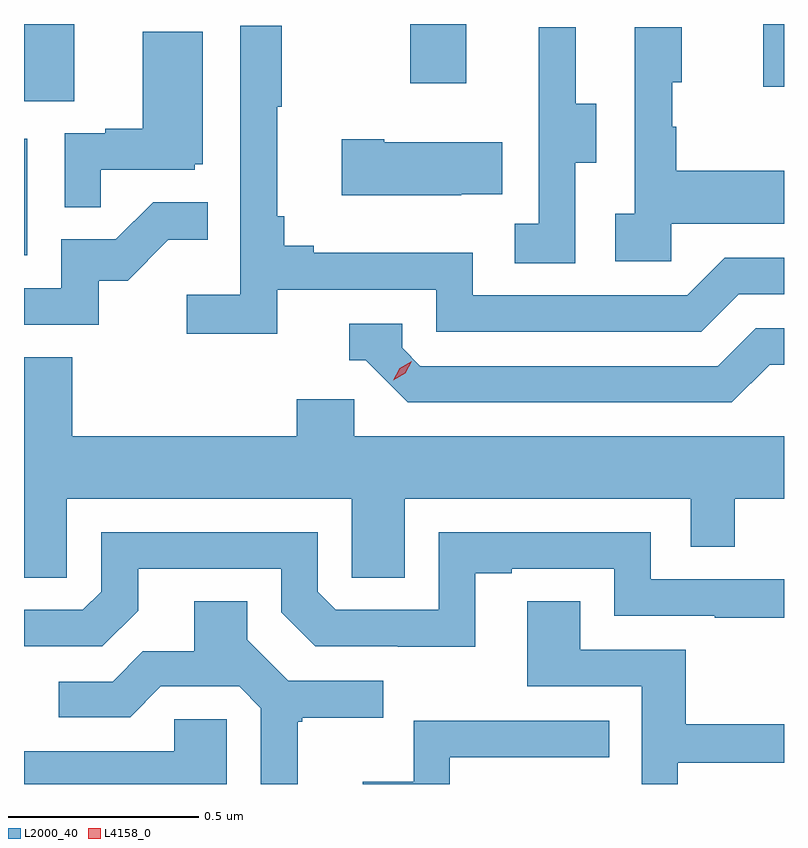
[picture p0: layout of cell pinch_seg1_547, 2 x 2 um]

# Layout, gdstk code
import gdstk
lib = gdstk.Library(unit=1e-6, precision=1e-09)
def R(c, l, rs):  # rectangles x0, y0, x1, y1
    for r in rs: c.add(gdstk.rectangle(r[:2], r[2:], *l))
def P(c, l, *ps):  # polygons
    for p in ps: c.add(gdstk.Polygon(p, *l))
L2000_40 = (2000, 40)
L4158_0 = (4158, 0)

pinch_seg1_547 = lib.new_cell('pinch_seg1_547')
R(pinch_seg1_547, L2000_40, [(1046.149,531.06,1046.158,531.367), (1046.149,531.466,1046.281,531.669), (1048.094,531.504,1048.149,531.669), (1047.166,531.513,1047.313,531.669)])
P(pinch_seg1_547, L2000_40, [(1046.816,530.97),(1047.234,530.97),(1047.234,530.859),(1047.931,530.859),(1048.03,530.958),(1048.149,530.958),(1048.149,531.054),(1047.993,531.054),(1047.894,530.955),(1047.33,530.955),(1047.33,531.067),(1046.911,531.067),(1046.911,531.086),(1046.834,531.086),(1046.834,531.163),(1046.815,531.163),(1046.815,531.451),(1046.827,531.451),(1046.827,531.664),(1046.718,531.664),(1046.718,530.956),(1046.577,530.956),(1046.577,530.854),(1046.816,530.854)],
  [(1047.6,531.304),(1047.655,531.304),(1047.655,531.459),(1047.601,531.459),(1047.601,531.661),(1047.503,531.661),(1047.503,531.447),(1047.504,531.447),(1047.504,531.143),(1047.441,531.143),(1047.441,531.04),(1047.6,531.04)],
  [(1047.852,531.143),(1048.149,531.143),(1048.149,531.283),(1047.865,531.283),(1047.865,531.398),(1047.855,531.398),(1047.855,531.516),(1047.88,531.516),(1047.88,531.661),(1047.756,531.661),(1047.756,531.17),(1047.705,531.17),(1047.705,531.045),(1047.852,531.045)],
  [(1046.351,531.285),(1046.598,531.285),(1046.598,531.3),(1046.62,531.3),(1046.62,531.649),(1046.462,531.649),(1046.462,531.394),(1046.363,531.394),(1046.363,531.381),(1046.256,531.381),(1046.256,531.187),(1046.351,531.187)],
  [(1047.299,531.221),(1047.407,531.221),(1047.407,531.358),(1047.097,531.358),(1047.097,531.366),(1046.985,531.366),(1046.985,531.218),(1047.299,531.218)],
  [(1046.346,530.994),(1046.422,530.994),(1046.529,531.101),(1046.633,531.101),(1046.633,531.2),(1046.489,531.2),(1046.391,531.102),(1046.247,531.102),(1046.247,530.973),(1046.149,530.973),(1046.149,530.877),(1046.346,530.877)],
  [(1048.111,530.772),(1048.149,530.772),(1048.149,530.868),(1048.074,530.868),(1047.975,530.769),(1047.192,530.769),(1047.144,530.817),(1047.144,530.88),(1047.005,530.88),(1047.005,530.784),(1047.048,530.784),(1047.159,530.673),(1048.012,530.673)],
  [(1046.262,530.42),(1047.012,530.42),(1047.012,530.212),(1047.151,530.212),(1047.151,530.42),(1047.903,530.42),(1047.903,530.293),(1048.019,530.293),(1048.019,530.42),(1048.149,530.42),(1048.149,530.584),(1047.018,530.584),(1047.018,530.682),(1046.867,530.682),(1046.867,530.584),(1046.276,530.584),(1046.276,530.792),(1046.149,530.792),(1046.149,530.212),(1046.262,530.212)],
  [(1047.337,530.223),(1047.433,530.223),(1047.433,530.235),(1047.702,530.235),(1047.702,530.112),(1047.967,530.112),(1047.967,530.107),(1048.149,530.107),(1048.149,530.208),(1047.798,530.208),(1047.798,530.331),(1047.24,530.331),(1047.24,530.127),(1046.97,530.127),(1046.922,530.175),(1046.922,530.331),(1046.352,530.331),(1046.352,530.175),(1046.304,530.127),(1046.149,530.127),(1046.149,530.031),(1046.355,530.031),(1046.449,530.125),(1046.449,530.235),(1046.826,530.235),(1046.826,530.121),(1046.916,530.031),(1047.132,530.031),(1047.132,530.03),(1047.337,530.03)],
  [(1046.869,529.833),(1046.881,529.833),(1046.881,529.844),(1047.094,529.844),(1047.094,529.941),(1046.844,529.941),(1046.737,530.048),(1046.737,530.15),(1046.597,530.15),(1046.597,530.018),(1046.462,530.018),(1046.382,529.938),(1046.241,529.938),(1046.241,529.845),(1046.428,529.845),(1046.509,529.926),(1046.715,529.926),(1046.772,529.869),(1046.772,529.669),(1046.869,529.669)],
  [(1047.87,529.725),(1048.149,529.725),(1048.149,529.826),(1047.89,529.826),(1047.89,530.022),(1047.613,530.022),(1047.613,530.15),(1047.473,530.15),(1047.473,529.926),(1047.774,529.926),(1047.774,529.669),(1047.87,529.669)],
  [(1046.682,529.839),(1046.545,529.839),(1046.545,529.755),(1046.149,529.755),(1046.149,529.669),(1046.682,529.669)],
  [(1047.27,529.74),(1047.689,529.74),(1047.689,529.836),(1047.174,529.836),(1047.174,529.675),(1047.041,529.675),(1047.041,529.669),(1047.27,529.669)])
P(pinch_seg1_547, L4158_0, [(1047.121,530.731),(1047.121,530.731),(1047.138,530.763),(1047.169,530.782),(1047.169,530.782),(1047.169,530.782),(1047.152,530.75),(1047.121,530.731)])

lib.write_gds('pinch_seg1_547.gds')
